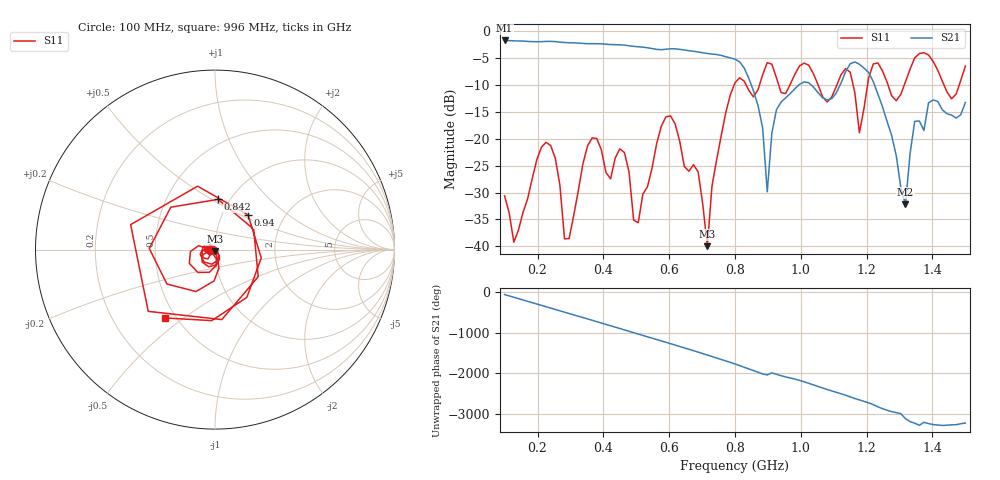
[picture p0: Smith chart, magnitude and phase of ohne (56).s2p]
! NanoVNA-App
! Date: 2025-09-26 09:55:50
! Start: 100MHz Stop: 1,5GHz Points: 101
! S-Parameter data: F S11 S21 S12 S22
# Hz S RI R 50
!  Frequency  S11_Real  S11_Imag  S21_Real  S21_Imag  S12_Real  S12_Imag  S22_Real  S22_Imag
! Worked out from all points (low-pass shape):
!   101 points, 100 MHz to 1.5 GHz, reference 50 ohm
!   highest |S21| = -1.79 dB at 100 MHz (marker M1); lowest = -32.2 dB at 1.318 GHz (marker M2)
!   |S21| within 3 dB of the highest: start of sweep to 771 MHz
!   lowest |S11| = -40.0 dB at 716 MHz (marker M3), VSWR 1.02, Z = 49.8 - j0.992 ohm
!   |S11| at or under -10 dB: start of sweep to 797.7 MHz; 833.4 MHz to 874.7 MHz (41.23 MHz wide, 4.83 % of centre); 1.052 GHz to 1.11 GHz (57.59 MHz wide, 5.33 % of centre) (the widest 3 of 7)
!   S12 and S22 are empty: the file has one direction only
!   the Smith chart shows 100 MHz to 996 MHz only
!   S11 on the Smith chart (normalised r, x): 100 MHz: 0.94, -0.01; 842 MHz: 0.88, +0.54; 940 MHz: 1.32, +0.55; 996 MHz: 0.44, -0.43
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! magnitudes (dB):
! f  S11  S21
! 100 MHz  -30.6  -1.8
! 128 MHz  -39.2  -1.9
! 226 MHz  -20.7  -2.0
! 296 MHz  -38.5  -2.2
! 338 MHz  -24.7  -2.3
! 464 MHz  -22.6  -2.7
! 506 MHz  -35.6  -3.0
! 576 MHz  -17.7  -3.5
! 688 MHz  -26.2  -3.9
! 716 MHz  -40.0  -4.2
! 800 MHz  -9.6  -5.3
! 842 MHz  -11.0  -8.8
! 898 MHz  -5.9  -29.9
! 940 MHz  -11.5  -13.2
! 996 MHz  -6.5  -9.9
! 1.038 GHz  -7.9  -10.4
! 1.178 GHz  -18.9  -6.2
! 1.22 GHz  -6.2  -9.4
! 1.276 GHz  -12.0  -19.4
! 1.318 GHz  -9.4  -32.2
! 1.346 GHz  -5.0  -16.8
! 1.5 GHz  -6.5  -13.3
